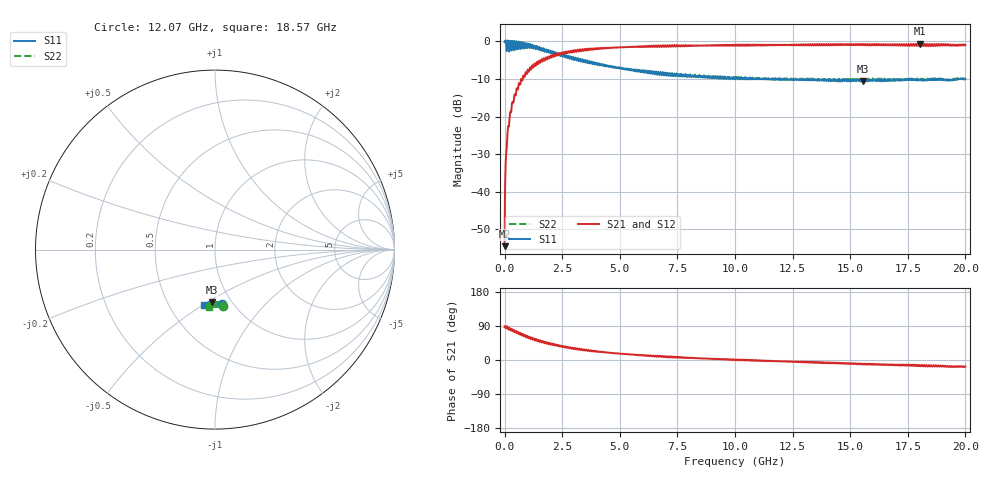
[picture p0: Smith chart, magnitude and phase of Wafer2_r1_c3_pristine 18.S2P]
!  2-Port S-parameters saved by WinCal
! VAR MeasName=S-Parameters (CALIBRATED_DATA) read from VNA (P5004A)
! VAR MeasDate=24/04/2024 16:24:58
! VAR NAME=Wafer2_r1_c3_pristine 18
! VAR FILENAME=Wafer2_r1_c3_pristine 18.S2P
! VAR DATE=24/04/2024 16:24:58
! VAR PHYS_PORTS=1,2
! VAR ObjTypeName=DATASET
! VAR IndexType=Frequency
# Hz S MA R 50
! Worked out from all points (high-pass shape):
!   4999 points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, 4.01 MHz to 20 GHz, reference 50 ohm
!   highest |S21| = -0.64 dB at 18.04 GHz (marker M1); lowest = -54.4 dB at 4.01 MHz (marker M2)
!   |S21| within 3 dB of the highest: 2.252 GHz to 2.321 GHz (69.13 MHz wide, 3.02 % of centre); 2.338 GHz to end of sweep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
!   lowest |S11| = -10.6 dB at 15.56 GHz (marker M3), VSWR 1.83, Z = 40.6 - j26.1 ohm
!   |S11| at or under -10 dB: 11.82 GHz to 11.91 GHz (85.74 MHz wide, 0.723 % of centre); 11.92 GHz to 18.46 GHz (6.534 GHz wide, 43 % of centre); 18.97 GHz to 19.69 GHz (713.7 MHz wide, 3.69 % of centre)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
!   |S22| runs from -10.7 to 0.2 dB; largest |S21 - S12| = 0.016
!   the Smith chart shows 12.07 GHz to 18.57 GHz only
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4009798  0.988 -3.1  0.001898 86.0  0.001915 86.0  0.9875 -3.0
7.602417e7  0.9008 -2.4  0.03331 83.6  0.03353 84.4  0.9134 -2.3
1.080306e8  0.7903 -5.1  0.04451 87.5  0.04587 87.0  0.8218 -4.4
1.400369e8  1.025 -4.0  0.06642 84.3  0.06604 84.3  1.019 -4.2
1.840457e8  0.7689 -2.9  0.07426 81.5  0.07652 82.4  0.796 -3.5
2.480585e8  0.9946 -8.6  0.1138 79.4  0.1126 79.5  1.003 -8.3
3.480785e8  0.9792 -11.6  0.156 76.2  0.1551 76.4  0.9778 -11.3
4.921072e8  0.7844 -11.1  0.1973 76.0  0.2009 75.7  0.8075 -11.4
6.281343e8  0.9738 -18.9  0.2768 68.3  0.2762 68.2  0.9739 -18.7
8.121711e8  0.9635 -22.0  0.3523 65.3  0.3534 65.3  0.9684 -21.7
1.032215e9  0.8781 -29.1  0.4042 57.5  0.4052 57.6  0.8797 -28.7
1.552319e9  0.7659 -35.5  0.5228 50.8  0.5239 50.6  0.7634 -35.0
2.436495e9  0.6403 -47.5  0.6702 37.5  0.6696 37.6  0.6409 -46.6
3.340676e9  0.5488 -55.0  0.756 29.0  0.7556 28.9  0.5477 -54.0
4.752957e9  0.4553 -65.3  0.8232 18.1  0.8244 18.1  0.4563 -64.2
6.673341e9  0.3939 -72.0  0.8852 9.9  0.8845 9.6  0.3901 -70.0
1.0002e10  0.3175 -82.3  0.8789 -0.1  0.8738 -0.2  0.319 -79.4
1.333467e10  0.3129 -85.8  0.8908 -4.9  0.8891 -4.6  0.3207 -82.9
1.555911e10  0.2936 -93.7  0.9245 -10.6  0.9202 -10.3  0.295 -90.6
1.667134e10  0.2989 -96.8  0.9011 -13.6  0.8982 -12.7  0.3114 -92.9
1.803561e10  0.3044 -96.0  0.9286 -14.6  0.9312 -15.2  0.3023 -97.0
2e10  0.3166 -97.4  0.8919 -17.0  0.8948 -17.0  0.3182 -95.5
